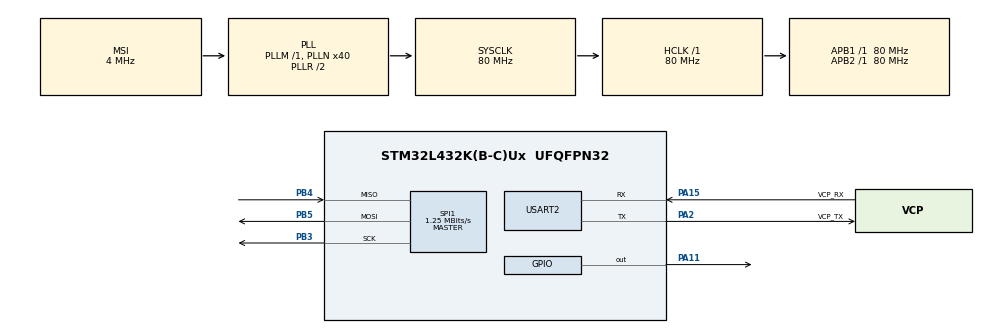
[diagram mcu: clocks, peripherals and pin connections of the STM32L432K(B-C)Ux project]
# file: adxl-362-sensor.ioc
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Mcu.Family=STM32L4
Mcu.Name=STM32L432K(B-C)Ux
Mcu.Package=UFQFPN32
NVIC.PriorityGroup=NVIC_PRIORITYGROUP_4
PA0.GPIO_Label=MCO [High speed clock in]
PA0.Mode=HSE-External-Clock-Source-for-LittleOrca
PA0.Signal=RCC_CK_IN
PA11.Signal=GPIO_Output
PA13\ (JTMS-SWDIO).GPIO_Label=SWDIO
PA13\ (JTMS-SWDIO).Mode=Serial_Wire
PA13\ (JTMS-SWDIO).Signal=SYS_JTMS-SWDIO
PA14\ (JTCK-SWCLK).GPIO_Label=SWCLK
PA14\ (JTCK-SWCLK).Mode=Serial_Wire
PA14\ (JTCK-SWCLK).Signal=SYS_JTCK-SWCLK
PA15\ (JTDI).GPIO_Label=VCP_RX
PA15\ (JTDI).Mode=Asynchronous
PA15\ (JTDI).Signal=USART2_RX
PA2.GPIO_Label=VCP_TX
PA2.Mode=Asynchronous
PA2.Signal=USART2_TX
PB3\ (JTDO-TRACESWO).Mode=Full_Duplex_Master
PB3\ (JTDO-TRACESWO).Signal=SPI1_SCK
PB4\ (NJTRST).Mode=Full_Duplex_Master
PB4\ (NJTRST).Signal=SPI1_MISO
PB5.Mode=Full_Duplex_Master
PB5.Signal=SPI1_MOSI
PC14-OSC32_IN\ (PC14).Mode=LSE-External-Oscillator
PC14-OSC32_IN\ (PC14).Signal=RCC_OSC32_IN
PC15-OSC32_OUT\ (PC15).Mode=LSE-External-Oscillator
PC15-OSC32_OUT\ (PC15).Signal=RCC_OSC32_OUT
ProjectManager.HeapSize=0x200
ProjectManager.StackSize=0x400
ProjectManager.TargetToolchain=STM32CubeIDE
RCC.AHBFreq_Value=80000000
RCC.APB1Freq_Value=80000000
RCC.APB1TimFreq_Value=80000000
RCC.APB2Freq_Value=80000000
RCC.APB2TimFreq_Value=80000000
RCC.CortexFreq_Value=80000000
RCC.HCLKFreq_Value=80000000
RCC.HSE_VALUE=8000000
RCC.HSI16_VALUE=16000000
RCC.HSI48_VALUE=48000000
RCC.HSI_VALUE=16000000
RCC.MSI_VALUE=4000000
RCC.PLLMUL=RCC_PLLMUL_4
RCC.PLLN=40
RCC.SYSCLKFreq_VALUE=80000000
RCC.SYSCLKSource=RCC_SYSCLKSOURCE_PLLCLK
RCC.VCOOutputFreq_Value=160000000
SPI1.BaudRatePrescaler=SPI_BAUDRATEPRESCALER_64
SPI1.CalculateBaudRate=1.25 MBits/s
SPI1.DataSize=SPI_DATASIZE_8BIT
SPI1.Direction=SPI_DIRECTION_2LINES
SPI1.Mode=SPI_MODE_MASTER
SPI1.NSSPMode=SPI_NSS_PULSE_DISABLE
SPI1.VirtualType=VM_MASTER
USART2.VirtualMode-Asynchronous=VM_ASYNC
board=NUCLEO-L432KC

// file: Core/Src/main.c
/* USER CODE BEGIN Header */
/**
  ******************************************************************************
  * @file           : main.c
  * @brief          : Main program body
  ******************************************************************************
  * @attention
  *
  * Copyright (c) 2025 STMicroelectronics.
  * All rights reserved.
  *
  * This software is licensed under terms that can be found in the LICENSE file
  * in the root directory of this software component.
  * If no LICENSE file comes with this software, it is provided AS-IS.
  *
  ******************************************************************************
  */
/* USER CODE END Header */
#include "main.h"

/* USER CODE BEGIN Includes */
#include <stdio.h>

/* USER CODE END Includes */

/* USER CODE BEGIN PD */

// ADXL SPI Commands
#define ADXL_READ_CMD 0x0B
#define ADXL_WRITE_CMD 0x0A

// ADXL SPI registers
#define ADXL_DEVID_AD_REG 0x00
#define ADXL_STATUS_REG 0x0B
#define ADXL362_POWER_CTL_REG 0x2D
// ADXL362 Data registers
#define ADXL_XDATA_REG 0x08
#define ADXL_YDATA_REG 0x09
#define ADXL_ZDATA_REG 0x0A

// ADXL SPI register options
#define ADXL362_MEASURE 0x02

/* USER CODE END PD */

SPI_HandleTypeDef hspi1;

UART_HandleTypeDef huart2;

/* USER CODE BEGIN PV */
uint32_t counter = 0;  // global counter
/* USER CODE END PV */

void SystemClock_Config(void);
static void MX_GPIO_Init(void);
static void MX_USART2_UART_Init(void);
static void MX_SPI1_Init(void);
/* USER CODE BEGIN PFP */

int _write(int file, char *ptr, int len)
{
    HAL_UART_Transmit(&huart2, (uint8_t*)ptr, len, HAL_MAX_DELAY);
    return len;
}

/* USER CODE END PFP */

/* USER CODE BEGIN 0 */
uint8_t ADXL362_ReadRegister(uint8_t reg_addr)
{
    uint8_t tx[3], rx[3];
    uint8_t value;

    // CS LOW
    HAL_GPIO_WritePin(GPIOA, GPIO_PIN_11, GPIO_PIN_RESET);

    // Prepare SPI command
    tx[0] = ADXL_READ_CMD;      // Read command
    tx[1] = reg_addr;  // Register address
    tx[2] = 0x00;      // Dummy byte to receive data

    HAL_SPI_TransmitReceive(&hspi1, tx, rx, 3, HAL_MAX_DELAY);

    // CS HIGH
    HAL_GPIO_WritePin(GPIOA, GPIO_PIN_11, GPIO_PIN_SET);

    value = rx[2];  // The third byte contains the register value

    // Print TX and RX for debugging
//    printf("TX Data: 0x%02X 0x%02X 0x%02X\r\n", tx[0], tx[1], tx[2]);
//    printf("RX Data[0]: 0x%02X\r\nRX Data[1]: 0x%02X\r\nRX Data[2]: 0x%02X\r\n", rx[0], rx[1], rx[2]);

    return value;
}
void ADXL362_WriteRegister(uint8_t reg_addr, uint8_t value)
{
    uint8_t tx[3];

    // CS LOW
    HAL_GPIO_WritePin(GPIOA, GPIO_PIN_11, GPIO_PIN_RESET);

    // Prepare SPI write command
    tx[0] = ADXL_WRITE_CMD;  // 0x0A
    tx[1] = reg_addr;        // register address
    tx[2] = value;           // value to write

    HAL_SPI_Transmit(&hspi1, tx, 3, HAL_MAX_DELAY);

    // CS HIGH
    HAL_GPIO_WritePin(GPIOA, GPIO_PIN_11, GPIO_PIN_SET);

    // Debug print
    printf("Write Reg 0x%02X = 0x%02X\r\n", reg_addr, value);
    printf("TX Data: 0x%02X 0x%02X 0x%02X\r\n", tx[0], tx[1], tx[2]);
}

/**
 * @brief  Read Device ID
 */
void ADXL362_ReadID(void)
{
    uint8_t devid = ADXL362_ReadRegister(ADXL_DEVID_AD_REG);
    printf("ADXL362 Device ID: 0x%02X\r\n", devid);
}

/**
 * @brief  Read STATUS register and print human-readable bits
 */
void ADXL362_ReadStatus(void)
{
    uint8_t status = ADXL362_ReadRegister(ADXL_STATUS_REG);
    printf("ADXL362 STATUS: 0x%02X\r\n", status);
    printf("  ERROR        : %s\r\n", (status & 0x80) ? "1" : "0");
    printf("  READY        : %s\r\n", (status & 0x40) ? "1" : "0");
    printf("  ACTIVITY     : %s\r\n", (status & 0x20) ? "1" : "0");
    printf("  INACTIVITY   : %s\r\n", (status & 0x10) ? "1" : "0");
    printf("  FIFO_OVERRUN : %s\r\n", (status & 0x08) ? "1" : "0");
    printf("  FIFO_WATERMARK: %s\r\n", (status & 0x04) ? "1" : "0");
    printf("  FIFO_READY   : %s\r\n", (status & 0x02) ? "1" : "0");
    printf("  RESERVED     : %s\r\n", (status & 0x01) ? "1" : "0");
}

void ADXL362_ReadXYZ(void)
{
    uint8_t x = ADXL362_ReadRegister(ADXL_XDATA_REG);
    uint8_t y = ADXL362_ReadRegister(ADXL_YDATA_REG);
    uint8_t z = ADXL362_ReadRegister(ADXL_ZDATA_REG);

    printf("X: %d\tY: %d\tZ: %d\r\n", x, y, z);
}

/* USER CODE END 0 */

int main(void)
{

  /* MCU Configuration--------------------------------------------------------*/

  /* Reset of all peripherals, Initializes the Flash interface and the Systick. */
  HAL_Init();

  /* Configure the system clock */
  SystemClock_Config();

  /* Initialize all configured peripherals */
  MX_GPIO_Init();
  MX_USART2_UART_Init();
  MX_SPI1_Init();
  /* USER CODE BEGIN 2 */

  HAL_Delay(1000); // 1000 ms delay to let UART buffers settle
  printf("Reading device id :\r\n");
  ADXL362_ReadID();
  printf("Reading STATUS before measuring :\r\n");
  ADXL362_ReadStatus();

  HAL_Delay(1000); // 1000 ms delay to read the prev status
  /* After reading device ID and status */
  printf("Enabling measurement mode...\r\n");
  ADXL362_WriteRegister(ADXL362_POWER_CTL_REG, ADXL362_MEASURE);

  printf("Reading STATUS after measuring :\r\n");
  ADXL362_ReadStatus();

  /* USER CODE END 2 */

  /* Infinite loop */
  while (1)
  {

    /* USER CODE BEGIN 3 */
	printf("Counter: %lu\r\n", counter);
//    ADXL362_ReadStatus();
	ADXL362_ReadXYZ();

	counter++; // increment counter
	HAL_Delay(1000); // wait 1 second

  }
  /* USER CODE END 3 */
}

void SystemClock_Config(void)
{
  RCC_OscInitTypeDef RCC_OscInitStruct = {0};
  RCC_ClkInitTypeDef RCC_ClkInitStruct = {0};

  /** Configure the main internal regulator output voltage
  */
  if (HAL_PWREx_ControlVoltageScaling(PWR_REGULATOR_VOLTAGE_SCALE1) != HAL_OK)
  {
    Error_Handler();
  }

  /** Configure LSE Drive Capability
  */
  HAL_PWR_EnableBkUpAccess();
  __HAL_RCC_LSEDRIVE_CONFIG(RCC_LSEDRIVE_LOW);

  /** Initializes the RCC Oscillators according to the specified parameters
  * in the RCC_OscInitTypeDef structure.
  */
  RCC_OscInitStruct.OscillatorType = RCC_OSCILLATORTYPE_LSE|RCC_OSCILLATORTYPE_MSI;
  RCC_OscInitStruct.LSEState = RCC_LSE_ON;
  RCC_OscInitStruct.MSIState = RCC_MSI_ON;
  RCC_OscInitStruct.MSICalibrationValue = 0;
  RCC_OscInitStruct.MSIClockRange = RCC_MSIRANGE_6;
  RCC_OscInitStruct.PLL.PLLState = RCC_PLL_ON;
  RCC_OscInitStruct.PLL.PLLSource = RCC_PLLSOURCE_MSI;
  RCC_OscInitStruct.PLL.PLLM = 1;
  RCC_OscInitStruct.PLL.PLLN = 40;
  RCC_OscInitStruct.PLL.PLLP = RCC_PLLP_DIV7;
  RCC_OscInitStruct.PLL.PLLQ = RCC_PLLQ_DIV2;
  RCC_OscInitStruct.PLL.PLLR = RCC_PLLR_DIV2;
  if (HAL_RCC_OscConfig(&RCC_OscInitStruct) != HAL_OK)
  {
    Error_Handler();
  }

  /** Initializes the CPU, AHB and APB buses clocks
  */
  RCC_ClkInitStruct.ClockType = RCC_CLOCKTYPE_HCLK|RCC_CLOCKTYPE_SYSCLK
                              |RCC_CLOCKTYPE_PCLK1|RCC_CLOCKTYPE_PCLK2;
  RCC_ClkInitStruct.SYSCLKSource = RCC_SYSCLKSOURCE_PLLCLK;
  RCC_ClkInitStruct.AHBCLKDivider = RCC_SYSCLK_DIV1;
  RCC_ClkInitStruct.APB1CLKDivider = RCC_HCLK_DIV1;
  RCC_ClkInitStruct.APB2CLKDivider = RCC_HCLK_DIV1;

  if (HAL_RCC_ClockConfig(&RCC_ClkInitStruct, FLASH_LATENCY_4) != HAL_OK)
  {
    Error_Handler();
  }

  /** Enable MSI Auto calibration
  */
  HAL_RCCEx_EnableMSIPLLMode();
}

static void MX_SPI1_Init(void)
{

  /* SPI1 parameter configuration*/
  hspi1.Instance = SPI1;
  hspi1.Init.Mode = SPI_MODE_MASTER;
  hspi1.Init.Direction = SPI_DIRECTION_2LINES;
  hspi1.Init.DataSize = SPI_DATASIZE_8BIT;
  hspi1.Init.CLKPolarity = SPI_POLARITY_LOW;
  hspi1.Init.CLKPhase = SPI_PHASE_1EDGE;
  hspi1.Init.NSS = SPI_NSS_SOFT;
  hspi1.Init.BaudRatePrescaler = SPI_BAUDRATEPRESCALER_64;
  hspi1.Init.FirstBit = SPI_FIRSTBIT_MSB;
  hspi1.Init.TIMode = SPI_TIMODE_DISABLE;
  hspi1.Init.CRCCalculation = SPI_CRCCALCULATION_DISABLE;
  hspi1.Init.CRCPolynomial = 7;
  hspi1.Init.CRCLength = SPI_CRC_LENGTH_DATASIZE;
  hspi1.Init.NSSPMode = SPI_NSS_PULSE_DISABLE;
  if (HAL_SPI_Init(&hspi1) != HAL_OK)
  {
    Error_Handler();
  }

}

static void MX_USART2_UART_Init(void)
{

  huart2.Instance = USART2;
  huart2.Init.BaudRate = 115200;
  huart2.Init.WordLength = UART_WORDLENGTH_8B;
  huart2.Init.StopBits = UART_STOPBITS_1;
  huart2.Init.Parity = UART_PARITY_NONE;
  huart2.Init.Mode = UART_MODE_TX_RX;
  huart2.Init.HwFlowCtl = UART_HWCONTROL_NONE;
  huart2.Init.OverSampling = UART_OVERSAMPLING_16;
  huart2.Init.OneBitSampling = UART_ONE_BIT_SAMPLE_DISABLE;
  huart2.AdvancedInit.AdvFeatureInit = UART_ADVFEATURE_NO_INIT;
  if (HAL_UART_Init(&huart2) != HAL_OK)
  {
    Error_Handler();
  }

}

static void MX_GPIO_Init(void)
{
  GPIO_InitTypeDef GPIO_InitStruct = {0};

  /* GPIO Ports Clock Enable */
  __HAL_RCC_GPIOC_CLK_ENABLE();
  __HAL_RCC_GPIOA_CLK_ENABLE();
  __HAL_RCC_GPIOB_CLK_ENABLE();

  /*Configure GPIO pin Output Level */
  HAL_GPIO_WritePin(GPIOA, GPIO_PIN_11, GPIO_PIN_RESET);

  /*Configure GPIO pin : PA11 */
  GPIO_InitStruct.Pin = GPIO_PIN_11;
  GPIO_InitStruct.Mode = GPIO_MODE_OUTPUT_PP;
  GPIO_InitStruct.Pull = GPIO_NOPULL;
  GPIO_InitStruct.Speed = GPIO_SPEED_FREQ_LOW;
  HAL_GPIO_Init(GPIOA, &GPIO_InitStruct);

}

void Error_Handler(void)
{
  __disable_irq();
  while (1)
  {
  }
}
